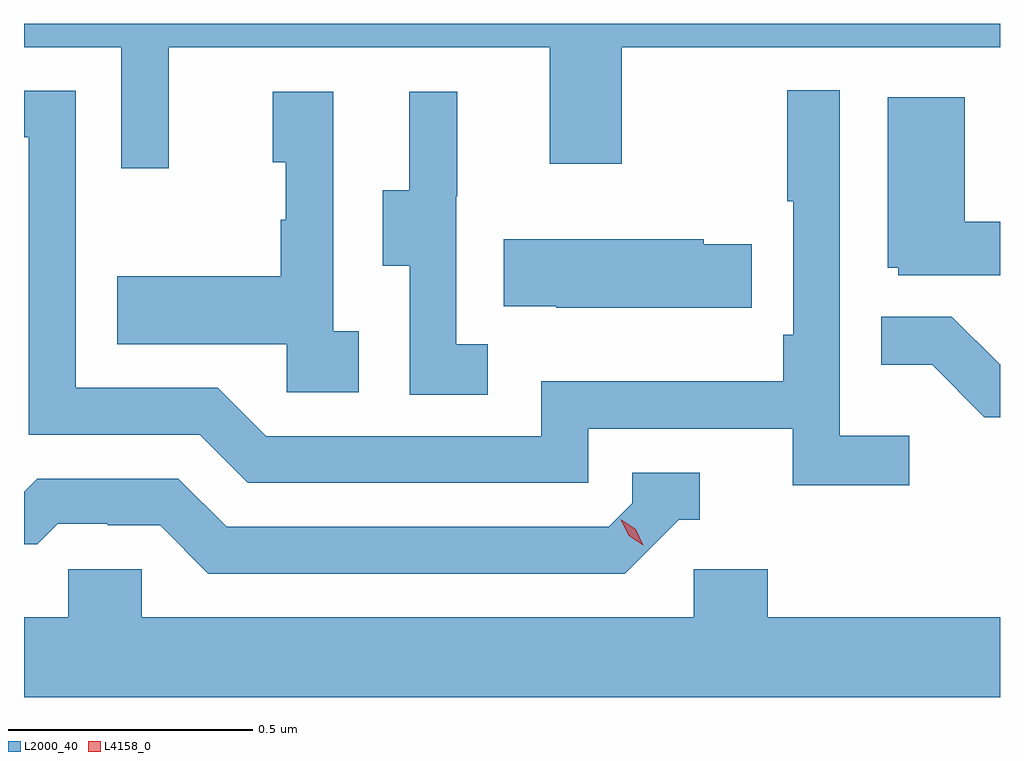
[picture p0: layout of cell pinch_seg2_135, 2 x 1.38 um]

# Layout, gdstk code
import gdstk
lib = gdstk.Library(unit=1e-6, precision=1e-09)
def P(c, l, *ps):  # polygons
    for p in ps: c.add(gdstk.Polygon(p, *l))
L2000_40 = (2000, 40)
L4158_0 = (4158, 0)

pinch_seg2_135 = lib.new_cell('pinch_seg2_135')
P(pinch_seg2_135, L2000_40, [(1037.441,627.656),(1038.221,627.656),(1038.221,627.417),(1038.369,627.417),(1038.369,627.656),(1039.144,627.656),(1039.144,627.704),(1037.144,627.704),(1037.144,627.656),(1037.343,627.656),(1037.343,627.408),(1037.441,627.408)],
  [(1038.958,626.86),(1038.816,626.86),(1038.816,627.568),(1038.708,627.568),(1038.708,627.34),(1038.72,627.34),(1038.72,627.067),(1038.7,627.067),(1038.7,626.971),(1038.204,626.971),(1038.204,626.859),(1037.64,626.859),(1037.541,626.958),(1037.25,626.958),(1037.25,627.567),(1037.144,627.567),(1037.144,627.471),(1037.154,627.471),(1037.154,626.862),(1037.504,626.862),(1037.603,626.763),(1038.3,626.763),(1038.3,626.874),(1038.719,626.874),(1038.719,626.758),(1038.958,626.758)],
  [(1037.83,627.074),(1037.778,627.074),(1037.778,627.565),(1037.654,627.565),(1037.654,627.42),(1037.68,627.42),(1037.68,627.302),(1037.67,627.302),(1037.67,627.187),(1037.335,627.187),(1037.335,627.047),(1037.682,627.047),(1037.682,626.949),(1037.83,626.949)],
  [(1038.094,627.047),(1038.03,627.047),(1038.03,627.351),(1038.032,627.351),(1038.032,627.565),(1037.933,627.565),(1037.933,627.363),(1037.879,627.363),(1037.879,627.208),(1037.934,627.208),(1037.934,626.944),(1038.094,626.944)],
  [(1039.144,627.298),(1039.072,627.298),(1039.072,627.553),(1038.914,627.553),(1038.914,627.204),(1038.936,627.204),(1038.936,627.189),(1039.144,627.189)],
  [(1038.635,627.252),(1038.537,627.252),(1038.537,627.262),(1038.127,627.262),(1038.127,627.125),(1038.235,627.125),(1038.235,627.122),(1038.635,627.122)],
  [(1039.144,627.006),(1039.143,627.006),(1039.045,627.104),(1038.901,627.104),(1038.901,627.005),(1039.005,627.005),(1039.112,626.898),(1039.144,626.898)],
  [(1038.486,626.688),(1038.529,626.688),(1038.529,626.784),(1038.39,626.784),(1038.39,626.721),(1038.342,626.673),(1037.559,626.673),(1037.46,626.772),(1037.171,626.772),(1037.144,626.745),(1037.144,626.637),(1037.171,626.637),(1037.213,626.679),(1037.316,626.679),(1037.316,626.676),(1037.423,626.676),(1037.522,626.577),(1038.375,626.577)],
  [(1039.144,626.488),(1038.668,626.488),(1038.668,626.586),(1038.516,626.586),(1038.516,626.488),(1037.385,626.488),(1037.385,626.586),(1037.235,626.586),(1037.235,626.488),(1037.144,626.488),(1037.144,626.324),(1039.144,626.324)])
P(pinch_seg2_135, L4158_0, [(1038.413,626.635),(1038.383,626.655),(1038.367,626.688),(1038.367,626.688),(1038.368,626.688),(1038.398,626.668),(1038.413,626.635),(1038.413,626.635)])

lib.write_gds('pinch_seg2_135.gds')
